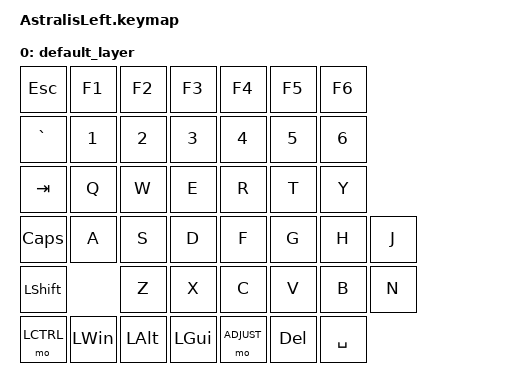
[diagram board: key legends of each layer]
 #include <behaviors.dtsi>
 #include <dt-bindings/zmk/keys.h>
 #include <dt-bindings/zmk/bt.h>

 / {
       keymap {
              compatible = "zmk,keymap";

              default_layer {
 // ---------------------------------------------------------------------------------------------------------------------------------
 // |  ESC   |   F1    |   F2    |   F3    |   F4    |   F5    |   F6    |       
 // | GRAVE  |    1    |    2    |    3    |    4    |    5    |    6    |                                        
 // |  TAB   |    Q    |    W    |    E    |    R    |    T    |    Y    |                             
 // |  CTRL  |    A    |    S    |    D    |    F    |    G    |    H    |    J   |                                
 // |      SHIFT       |    Z    |    X    |    C    |    V    |    B    |    N   |                   
 // |  CTRL  |   WIN   |   ALT   |    FN   |  ADJUST |   DEL   |       SPACE      |                   
                     bindings = <
       &kp ESC    &kp F1  &kp F2   &kp F3   &kp F4    &kp F5    &kp F6              
       &kp GRAVE  &kp N1  &kp N2   &kp N3   &kp N4    &kp N5    &kp N6                    
       &kp TAB    &kp Q   &kp W    &kp E    &kp R     &kp T     &kp Y                         
       &kp CAPS   &kp A   &kp S    &kp D    &kp F     &kp G     &kp H     &kp J                            
       &kp LSHFT          &kp Z    &kp X    &kp C     &kp V     &kp B     &kp N        
       &mo LCTRL  &kp LWIN &kp LALT &kp LGUI &mo ADJUST &kp DEL &kp SPACE      
                     >;
              };
  
 //             adjust_layer {
 // ---------------------------------------------------------------------------------------------------------------------------------
 // |          |          |          |          |          |          |          |
 // |    ~     |    !     |    @     |    #     |    $     |    %     |    ^     |    
 // |  BT CLR  | BT SEL0  | BT SEL1  | BT SEL2  | BGT SEL3 | BT SEL4  |          |                               
 // |  BT NXT  | OUT TOG  | OUT USB  | OUT BLE  |          |          |          |                                
 // |  BT PRV  |          |          |          |          |          |          |                        
 // |          |          |          |          |          |          |          |         
 //                    bindings = <
       &trans     &trans       &trans       &trans       &trans       &trans       &trans       
       &kp TILDE  &kp EXCL     &kp AT       &kp HASH     &kp DLLR     &kp PRCNT    &kp CARET                        
       &bt BT_CLR &bt BT_SEL 0 &bt BT_SEL 1 &bt BT_SEL 2 &bt BT_SEL 3 &bt BT_SEL 4 &trans                       
       &bt BT_NXT &out OUT_TOG &out OUT_USB &out OUT_BLE &trans       &trans       &trans     &trans                   
       &bt BT_PRV              &trans       &trans       &trans       &trans       &trans     &trans   
       &trans     &trans       &trans       &trans       &trans       &trans       &trans        
                     >;
              };
       };
};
